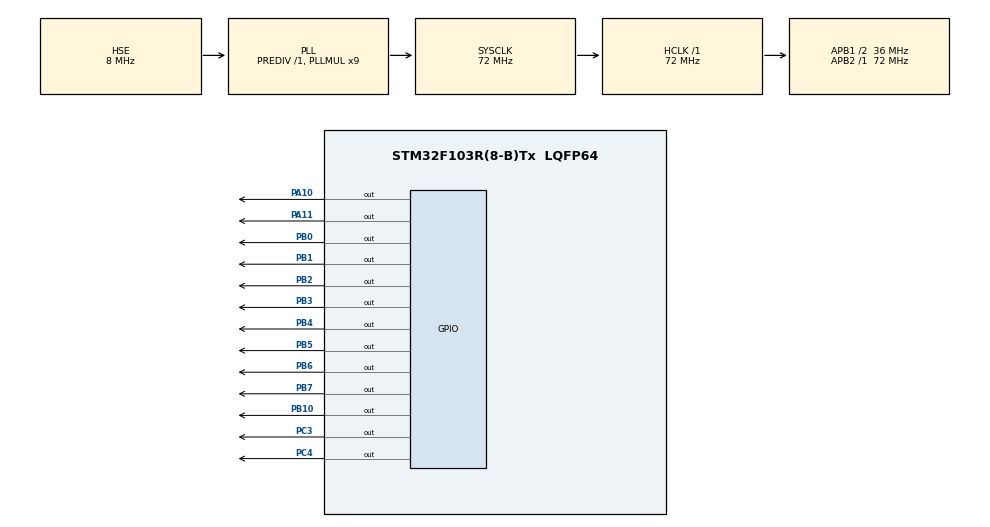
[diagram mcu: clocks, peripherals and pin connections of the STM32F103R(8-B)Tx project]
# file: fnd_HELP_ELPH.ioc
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Mcu.Family=STM32F1
Mcu.Name=STM32F103R(8-B)Tx
Mcu.Package=LQFP64
NVIC.PriorityGroup=NVIC_PRIORITYGROUP_4
PA10.Signal=GPIO_Output
PA11.Signal=GPIO_Output
PA13.Mode=Serial_Wire
PA13.Signal=SYS_JTMS-SWDIO
PA14.Mode=Serial_Wire
PA14.Signal=SYS_JTCK-SWCLK
PB0.Signal=GPIO_Output
PB1.Signal=GPIO_Output
PB10.Signal=GPIO_Output
PB2.Signal=GPIO_Output
PB3.Signal=GPIO_Output
PB4.Signal=GPIO_Output
PB5.Signal=GPIO_Output
PB6.Signal=GPIO_Output
PB7.Signal=GPIO_Output
PC14-OSC32_IN.Mode=LSE-External-Oscillator
PC14-OSC32_IN.Signal=RCC_OSC32_IN
PC15-OSC32_OUT.Mode=LSE-External-Oscillator
PC15-OSC32_OUT.Signal=RCC_OSC32_OUT
PC3.Signal=GPIO_Output
PC4.Signal=GPIO_Output
PD0-OSC_IN.Mode=HSE-External-Clock-Source
PD0-OSC_IN.Signal=RCC_OSC_IN
PD1-OSC_OUT.Mode=HSE-External-Clock-Source
PD1-OSC_OUT.Signal=RCC_OSC_OUT
ProjectManager.HeapSize=0x200
ProjectManager.StackSize=0x400
ProjectManager.TargetToolchain=STM32CubeIDE
RCC.AHBFreq_Value=72000000
RCC.APB1CLKDivider=RCC_HCLK_DIV2
RCC.APB1Freq_Value=36000000
RCC.APB1TimFreq_Value=72000000
RCC.APB2Freq_Value=72000000
RCC.APB2TimFreq_Value=72000000
RCC.HCLKFreq_Value=72000000
RCC.PLLMUL=RCC_PLL_MUL9
RCC.PLLSourceVirtual=RCC_PLLSOURCE_HSE
RCC.SYSCLKFreq_VALUE=72000000
RCC.SYSCLKSource=RCC_SYSCLKSOURCE_PLLCLK
RCC.USBFreq_Value=72000000
board=custom

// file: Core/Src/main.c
/* USER CODE BEGIN Header */
/**
  ******************************************************************************
  * @file           : main.c
  * @brief          : Main program body
  ******************************************************************************
  * @attention
  *
  * Copyright (c) 2023 STMicroelectronics.
  * All rights reserved.
  *
  * This software is licensed under terms that can be found in the LICENSE file
  * in the root directory of this software component.
  * If no LICENSE file comes with this software, it is provided AS-IS.
  *
  ******************************************************************************
  */
/* USER CODE END Header */
#include "main.h"

/* USER CODE BEGIN PV */
uint8_t help[] = {0x76, 0x79, 0x38, 0x73};
/* USER CODE END PV */

void SystemClock_Config(void);
static void MX_GPIO_Init(void);

/* USER CODE BEGIN 0 */
typedef struct fnd {
  GPIO_TypeDef *port;
  uint16_t pin;
} FND;
FND value[8] = {
  {GPIOB, GPIO_PIN_0}, {GPIOB, GPIO_PIN_1},
  {GPIOB, GPIO_PIN_2}, {GPIOB, GPIO_PIN_3},
  {GPIOB, GPIO_PIN_4}, {GPIOB, GPIO_PIN_5},
  {GPIOB, GPIO_PIN_6}, {GPIOB, GPIO_PIN_7}
};
FND sel[4] = {
  {GPIOA, GPIO_PIN_10}, {GPIOA, GPIO_PIN_11},
  {GPIOC, GPIO_PIN_4}, {GPIOC, GPIO_PIN_3}
};
void display_fnd(uint8_t data, uint8_t position, uint32_t time) {
  int i;
  for (i = 0; i < 4; i++) {
    if(i == position)
      HAL_GPIO_WritePin(sel[i].port, sel[i].pin, 1);
    else
      HAL_GPIO_WritePin(sel[i].port, sel[i].pin, 0);
  }
 for(i = 0; i < 8; i++) {
    if((data & (1 << i)) != 0)
      HAL_GPIO_WritePin(value[i].port, value[i].pin, 1);
    else
      HAL_GPIO_WritePin(value[i].port, value[i].pin, 0);
  }
  HAL_Delay(time);
}

/* USER CODE END 0 */

int main(void)
{

  /* MCU Configuration--------------------------------------------------------*/

  /* Reset of all peripherals, Initializes the Flash interface and the Systick. */
  HAL_Init();

  /* Configure the system clock */
  SystemClock_Config();

  /* Initialize all configured peripherals */
  MX_GPIO_Init();

  /* Infinite loop */
  /* USER CODE BEGIN WHILE */
  while (1)
  {
#if 0
	for(int i = 0; i < 4; i++){
		for(int j = 0; j < 50; j++){
			display_fnd(help[0], (3+i)%4, 5);
			display_fnd(help[1], (2+i)%4, 5);
			display_fnd(help[2], (1+i)%4, 5);
			display_fnd(help[3], (0+i)%4, 5);
		}
	}
#endif
	for(int i = 4; i > 0; i--){
			for(int j = 0; j < 50; j++){
				display_fnd(help[0], (3+i)%4, 5);
				display_fnd(help[1], (2+i)%4, 5);
				display_fnd(help[2], (1+i)%4, 5);
				display_fnd(help[3], (0+i)%4, 5);
			}
		}
    /* USER CODE END WHILE */

  }
}

void SystemClock_Config(void)
{
  RCC_OscInitTypeDef RCC_OscInitStruct = {0};
  RCC_ClkInitTypeDef RCC_ClkInitStruct = {0};

  /** Initializes the RCC Oscillators according to the specified parameters
  * in the RCC_OscInitTypeDef structure.
  */
  RCC_OscInitStruct.OscillatorType = RCC_OSCILLATORTYPE_HSE;
  RCC_OscInitStruct.HSEState = RCC_HSE_BYPASS;
  RCC_OscInitStruct.HSEPredivValue = RCC_HSE_PREDIV_DIV1;
  RCC_OscInitStruct.HSIState = RCC_HSI_ON;
  RCC_OscInitStruct.PLL.PLLState = RCC_PLL_ON;
  RCC_OscInitStruct.PLL.PLLSource = RCC_PLLSOURCE_HSE;
  RCC_OscInitStruct.PLL.PLLMUL = RCC_PLL_MUL9;
  if (HAL_RCC_OscConfig(&RCC_OscInitStruct) != HAL_OK)
  {
    Error_Handler();
  }

  /** Initializes the CPU, AHB and APB buses clocks
  */
  RCC_ClkInitStruct.ClockType = RCC_CLOCKTYPE_HCLK|RCC_CLOCKTYPE_SYSCLK
                              |RCC_CLOCKTYPE_PCLK1|RCC_CLOCKTYPE_PCLK2;
  RCC_ClkInitStruct.SYSCLKSource = RCC_SYSCLKSOURCE_PLLCLK;
  RCC_ClkInitStruct.AHBCLKDivider = RCC_SYSCLK_DIV1;
  RCC_ClkInitStruct.APB1CLKDivider = RCC_HCLK_DIV2;
  RCC_ClkInitStruct.APB2CLKDivider = RCC_HCLK_DIV1;

  if (HAL_RCC_ClockConfig(&RCC_ClkInitStruct, FLASH_LATENCY_2) != HAL_OK)
  {
    Error_Handler();
  }
}

static void MX_GPIO_Init(void)
{
  GPIO_InitTypeDef GPIO_InitStruct = {0};

  /* GPIO Ports Clock Enable */
  __HAL_RCC_GPIOC_CLK_ENABLE();
  __HAL_RCC_GPIOD_CLK_ENABLE();
  __HAL_RCC_GPIOB_CLK_ENABLE();
  __HAL_RCC_GPIOA_CLK_ENABLE();

  /*Configure GPIO pin Output Level */
  HAL_GPIO_WritePin(GPIOC, GPIO_PIN_3|GPIO_PIN_4, GPIO_PIN_RESET);

  /*Configure GPIO pin Output Level */
  HAL_GPIO_WritePin(GPIOB, GPIO_PIN_0|GPIO_PIN_1|GPIO_PIN_2|GPIO_PIN_10
                          |GPIO_PIN_3|GPIO_PIN_4|GPIO_PIN_5|GPIO_PIN_6
                          |GPIO_PIN_7, GPIO_PIN_RESET);

  /*Configure GPIO pin Output Level */
  HAL_GPIO_WritePin(GPIOA, GPIO_PIN_10|GPIO_PIN_11, GPIO_PIN_RESET);

  /*Configure GPIO pins : PC3 PC4 */
  GPIO_InitStruct.Pin = GPIO_PIN_3|GPIO_PIN_4;
  GPIO_InitStruct.Mode = GPIO_MODE_OUTPUT_PP;
  GPIO_InitStruct.Pull = GPIO_NOPULL;
  GPIO_InitStruct.Speed = GPIO_SPEED_FREQ_LOW;
  HAL_GPIO_Init(GPIOC, &GPIO_InitStruct);

  /*Configure GPIO pins : PB0 PB1 PB2 PB10
                           PB3 PB4 PB5 PB6
                           PB7 */
  GPIO_InitStruct.Pin = GPIO_PIN_0|GPIO_PIN_1|GPIO_PIN_2|GPIO_PIN_10
                          |GPIO_PIN_3|GPIO_PIN_4|GPIO_PIN_5|GPIO_PIN_6
                          |GPIO_PIN_7;
  GPIO_InitStruct.Mode = GPIO_MODE_OUTPUT_PP;
  GPIO_InitStruct.Pull = GPIO_NOPULL;
  GPIO_InitStruct.Speed = GPIO_SPEED_FREQ_LOW;
  HAL_GPIO_Init(GPIOB, &GPIO_InitStruct);

  /*Configure GPIO pins : PA10 PA11 */
  GPIO_InitStruct.Pin = GPIO_PIN_10|GPIO_PIN_11;
  GPIO_InitStruct.Mode = GPIO_MODE_OUTPUT_PP;
  GPIO_InitStruct.Pull = GPIO_NOPULL;
  GPIO_InitStruct.Speed = GPIO_SPEED_FREQ_LOW;
  HAL_GPIO_Init(GPIOA, &GPIO_InitStruct);

}

void Error_Handler(void)
{
  __disable_irq();
  while (1)
  {
  }
}
